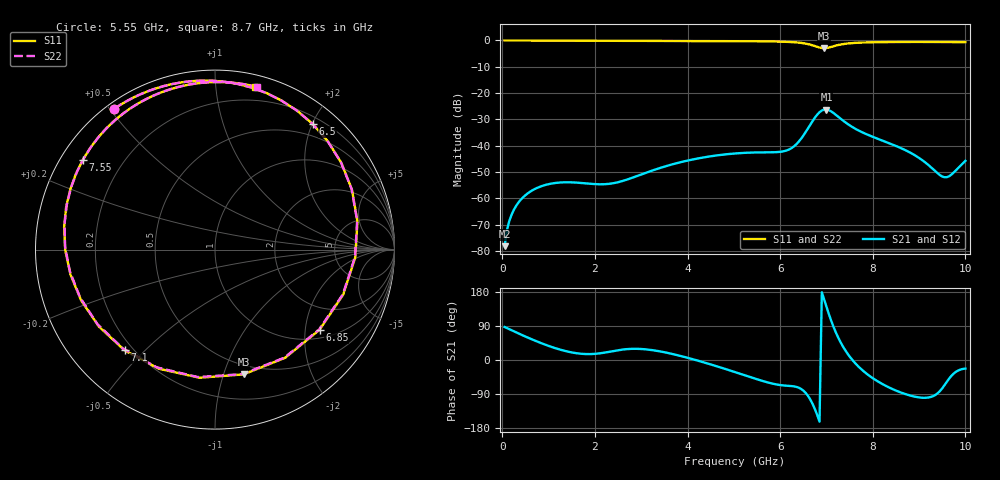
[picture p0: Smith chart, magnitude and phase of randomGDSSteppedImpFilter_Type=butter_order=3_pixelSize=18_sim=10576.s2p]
! freq	dB(S11)	phase(S11)	dB(S12)	phase(S12)
!  dB(S21)	phase(S21)	dB(S22)	phase(S22)
!S-par simulation data
#  GHz  S  DB  R 50
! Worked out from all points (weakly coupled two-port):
!   200 points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, 50 MHz to 10 GHz, reference 50 ohm
!   highest |S21| = -26.24 dB at 7 GHz (marker M1); lowest = -78.2 dB at 50 MHz (marker M2)
!   lowest |S11| = -2.9 dB at 6.95 GHz (marker M3), VSWR 5.98, Z = 20.6 - j58.4 ohm
!   |S11| at or under -10 dB: nowhere
!   |S22| runs from -3.0 to 0.0 dB; largest |S21 - S12| = 0
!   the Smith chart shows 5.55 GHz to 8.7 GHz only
!   S11 on the Smith chart (normalised r, x): 5.55 GHz: 0.02, +0.51; 6.5 GHz: 0.31, +2.01; 6.85 GHz: 1.23, -2.39; 7.1 GHz: 0.17, -0.44; 7.55 GHz: 0.06, +0.30; 8.7 GHz: 0.09, +1.27
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0.05  -0.00 -2.9  -78.16 87.1  -78.16 87.1  -0.00 -2.9
0.2  -0.02 -11.6  -66.21 78.5  -66.21 78.5  -0.02 -11.6
0.5  -0.04 -28.5  -58.78 61.8  -58.78 61.8  -0.04 -28.5
1.1  -0.07 -60.9  -54.26 33.0  -54.26 33.0  -0.07 -60.9
1.75  -0.10 -92.2  -54.21 16.0  -54.21 16.0  -0.10 -92.2
3.4  -0.16 -156.5  -48.48 22.8  -48.48 22.8  -0.16 -156.5
5.05  -0.25 146.2  -42.91 -32.9  -42.91 -32.9  -0.25 146.2
5.55  -0.31 125.5  -42.53 -52.7  -42.53 -52.7  -0.31 125.6
6.15  -0.53 90.4  -41.73 -68.0  -41.73 -68.0  -0.53 90.7
6.5  -1.05 52.1  -36.16 -80.7  -36.16 -80.7  -1.04 52.5
6.7  -1.84 11.1  -30.65 -115.8  -30.65 -115.8  -1.85 11.5
6.85  -2.69 -37.5  -27.26 -162.6  -27.26 -162.6  -2.72 -37.6
6.95  -2.93 -77.1  -26.27 159.5  -26.27 159.5  -2.97 -77.8
7  -2.86 -96.9  -26.24 140.4  -26.24 140.4  -2.90 -97.7
7.1  -2.45 -131.9  -26.94 104.4  -26.94 104.4  -2.47 -133.1
7.3  -1.57 -180.0  -29.64 47.9  -29.64 47.9  -1.56 178.8
7.55  -1.01 146.0  -32.80 1.5  -32.80 1.5  -1.01 145.0
7.9  -0.72 117.5  -35.89 -39.3  -35.89 -39.3  -0.72 116.7
8.35  -0.60 92.3  -38.99 -72.4  -38.99 -72.4  -0.60 91.6
8.7  -0.57 76.1  -41.65 -89.8  -41.65 -89.8  -0.57 75.5
9.55  -0.59 41.3  -51.97 -66.3  -51.97 -66.3  -0.59 40.7
10  -0.63 24.1  -45.73 -22.6  -45.73 -22.6  -0.63 23.6
